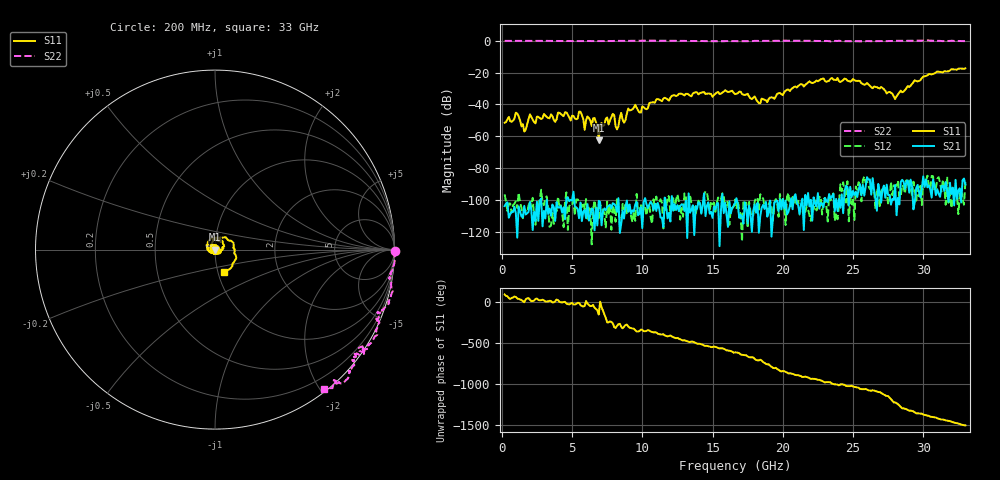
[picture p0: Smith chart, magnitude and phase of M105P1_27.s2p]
# GHZ S RI R 50
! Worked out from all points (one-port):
!   329 points, 200 MHz to 33 GHz, reference 50 ohm
!   lowest |S11| = -62.4 dB at 6.9 GHz (marker M1), VSWR 1.00, Z = 49.9 - j0.0321 ohm
!   |S11| at or under -10 dB: start of sweep to end of sweep
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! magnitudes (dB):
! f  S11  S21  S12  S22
! 200 MHz  -51.5  -103.9  -96.5  0.0
! 1 GHz  -45.1  -108.4  -100.8  0.0
! 1.6 GHz  -57.0  -103.7  -105.5  0.0
! 2 GHz  -46.2  -101.4  -100.5  0.1
! 5.7 GHz  -46.6  -113.3  -104.5  -0.1
! 5.9 GHz  -55.9  -106.4  -106.1  -0.1
! 6.1 GHz  -47.5  -102.7  -111.8  -0.1
! 6.6 GHz  -48.5  -119.2  -100.2  -0.1
! 6.9 GHz  -62.4  -100.6  -111.6  -0.1
! 7 GHz  -53.1  -101.3  -102.7  -0.1
! 7.5 GHz  -48.2  -104.7  -101.0  -0.1
! 8 GHz  -46.7  -102.6  -106.4  0.0
! 8.2 GHz  -55.7  -107.6  -98.9  0.0
! 8.5 GHz  -45.3  -115.0  -114.9  0.0
! 8.7 GHz  -51.5  -111.8  -105.8  0.0
! 9 GHz  -42.6  -107.5  -102.0  0.0
! 11.2 GHz  -36.9  -105.2  -101.9  0.1
! 16.6 GHz  -33.5  -102.0  -99.9  -0.2
! 18.4 GHz  -39.3  -110.1  -96.4  0.0
! 22.1 GHz  -26.5  -113.1  -106.1  0.1
! 27.6 GHz  -32.1  -97.1  -100.6  -0.1
! 33 GHz  -17.2  -90.4  -88.4  -0.1
